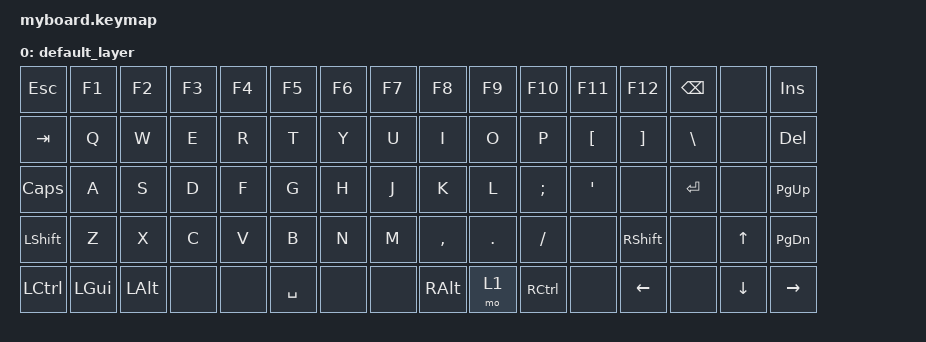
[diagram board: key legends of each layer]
/* myboard.keymap */

#include <behaviors.dtsi>
#include <dt-bindings/zmk/keys.h>
#include <dt-bindings/zmk/bt.h>

/ {
    keymap {
        compatible = "zmk,keymap";

        default_layer {
            bindings = <
/* ROW 1: Esc, F-Keys, Backspace, Insert */
&kp ESC   &kp F1    &kp F2    &kp F3    &kp F4    &kp F5    &kp F6    &kp F7    &kp F8    &kp F9    &kp F10   &kp F11   &kp F12   &kp BSPC  &none     &kp INS

/* ROW 2: Tab, QWERTY, Brackets, Delete */
&kp TAB   &kp Q     &kp W     &kp E     &kp R     &kp T     &kp Y     &kp U     &kp I     &kp O     &kp P     &kp LBKT  &kp RBKT  &kp BSLH  &none     &kp DEL

/* ROW 3: Caps, ASDF, Enter, PgUp */
&kp CLCK  &kp A     &kp S     &kp D     &kp F     &kp G     &kp H     &kp J     &kp K     &kp L     &kp SEMI  &kp SQT   &none     &kp RET   &none     &kp PG_UP

/* ROW 4: Shift, ZXCV, Arrows, PgDn */
&kp LSHFT &kp Z     &kp X     &kp C     &kp V     &kp B     &kp N     &kp M     &kp COMMA &kp DOT   &kp FSLH  &none     &kp RSHFT &none     &kp UP    &kp PG_DN

/* ROW 5: Ctrl, Win, Alt, Space, Arrows */
&kp LCTRL &kp LGUI  &kp LALT  &none     &none     &kp SPACE &none     &none     &kp RALT  &mo 1    &kp RCTRL &none     &kp LEFT  &none     &kp DOWN  &kp RIGHT
            >;
        };
    };
};
